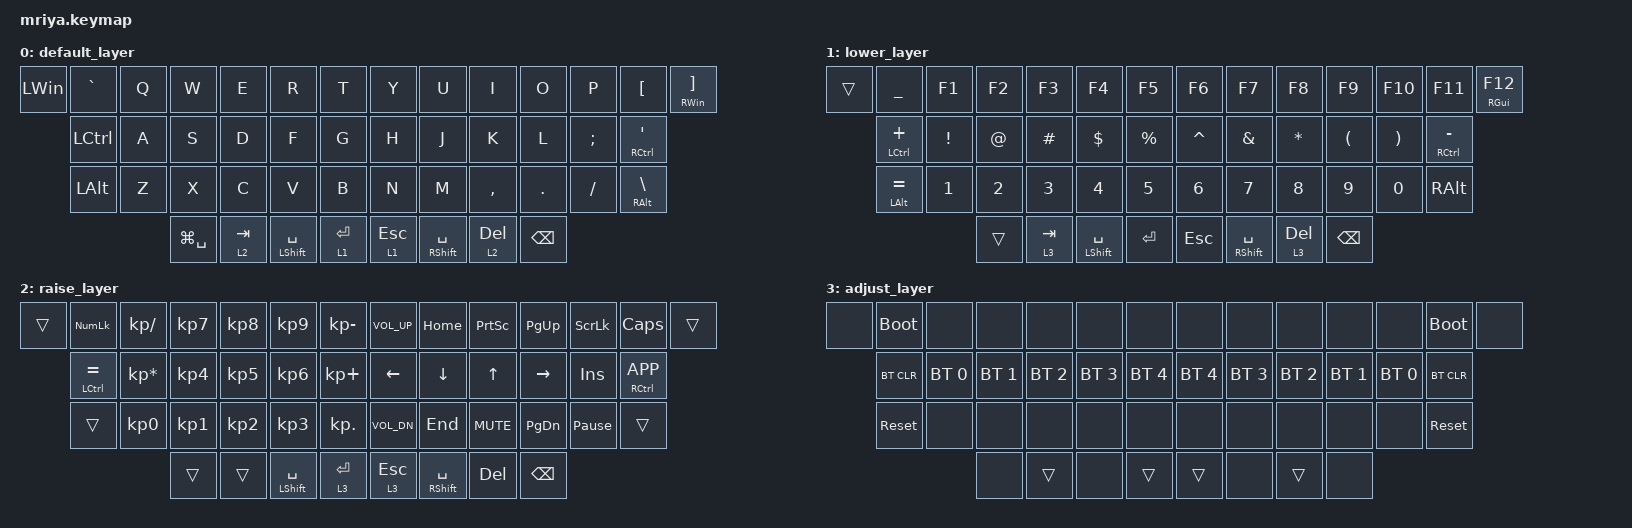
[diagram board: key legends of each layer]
/*
 * Copyright (c) 2023 Andrei Gaevskii
 *
 * SPDX-License-Identifier: MIT
 */

#include <behaviors.dtsi>
#include <dt-bindings/zmk/bt.h>
#include <dt-bindings/zmk/keys.h>

#define DEF 0
#define LWR 1
#define RSE 2
#define ADJ 3

&lt { quick_tap_ms = <200>; };

&mt { quick_tap_ms = <200>; };

/ {
    keymap {
        compatible = "zmk,keymap";

        default_layer {
            bindings = <
&kp LWIN  &kp GRAVE  &kp Q  &kp W          &kp E      &kp R            &kp T        &kp Y      &kp U            &kp I      &kp O          &kp P     &kp LBKT       &mt RWIN RBKT
          &kp LCTRL  &kp A  &kp S          &kp D      &kp F            &kp G        &kp H      &kp J            &kp K      &kp L          &kp SEMI  &mt RCTRL SQT
          &kp LALT   &kp Z  &kp X          &kp C      &kp V            &kp B        &kp N      &kp M            &kp COMMA  &kp DOT        &kp FSLH  &mt RALT BSLH
                            &kp LG(SPACE)  &lt 2 TAB  &mt LSHFT SPACE  &lt 1 RET    &lt 1 ESC  &mt RSHFT SPACE  &lt 2 DEL  &kp BACKSPACE
            >;
        };

        lower_layer {
            bindings = <
&trans  &kp UNDER       &kp F1    &kp F2  &kp F3     &kp F4                &kp F5       &kp F6     &kp F7                 &kp F8     &kp F9         &kp F10   &kp F11          &mt RGUI F12
        &mt LCTRL PLUS  &kp EXCL  &kp AT  &kp HASH   &kp DLLR              &kp PRCNT    &kp CARET  &kp AMPS               &kp STAR   &kp LPAR       &kp RPAR  &mt RCTRL MINUS
        &mt LALT EQUAL  &kp N1    &kp N2  &kp N3     &kp N4                &kp N5       &kp N6     &kp N7                 &kp N8     &kp N9         &kp N0    &kp RIGHT_ALT
                                  &trans  &lt 3 TAB  &mt LEFT_SHIFT SPACE  &kp ENTER    &kp ESC    &mt RIGHT_SHIFT SPACE  &lt 3 DEL  &kp BACKSPACE
            >;
        };

        raise_layer {
            bindings = <
&trans  &kp KP_NUM       &kp KP_SLASH     &kp KP_N7  &kp KP_N8  &kp KP_N9             &kp KP_MINUS    &kp C_VOL_UP  &kp HOME               &kp PSCRN   &kp PG_UP      &kp SLCK         &kp CAPS         &trans
        &mt LCTRL EQUAL  &kp KP_MULTIPLY  &kp KP_N4  &kp KP_N5  &kp KP_N6             &kp KP_PLUS     &kp LEFT      &kp DOWN               &kp UP      &kp RIGHT      &kp INS          &mt RCTRL K_APP
        &trans           &kp KP_N0        &kp KP_N1  &kp KP_N2  &kp KP_N3             &kp KP_DOT      &kp C_VOL_DN  &kp END                &kp C_MUTE  &kp PG_DN      &kp PAUSE_BREAK  &trans
                                          &trans     &trans     &mt LEFT_SHIFT SPACE  &lt 3 RET       &lt 3 ESC     &mt RIGHT_SHIFT SPACE  &kp DEL     &kp BACKSPACE
            >;
        };

        adjust_layer {
            bindings = <
&none  &bootloader  &none         &none         &none         &none         &none           &none         &none         &none         &none         &none         &bootloader  &none
       &bt BT_CLR   &bt BT_SEL 0  &bt BT_SEL 1  &bt BT_SEL 2  &bt BT_SEL 3  &bt BT_SEL 4    &bt BT_SEL 4  &bt BT_SEL 3  &bt BT_SEL 2  &bt BT_SEL 1  &bt BT_SEL 0  &bt BT_CLR
       &sys_reset   &none         &none         &none         &none         &none           &none         &none         &none         &none         &none         &sys_reset
                                  &none         &trans        &none         &trans          &trans        &none         &trans        &none
            >;
        };
    };
};
